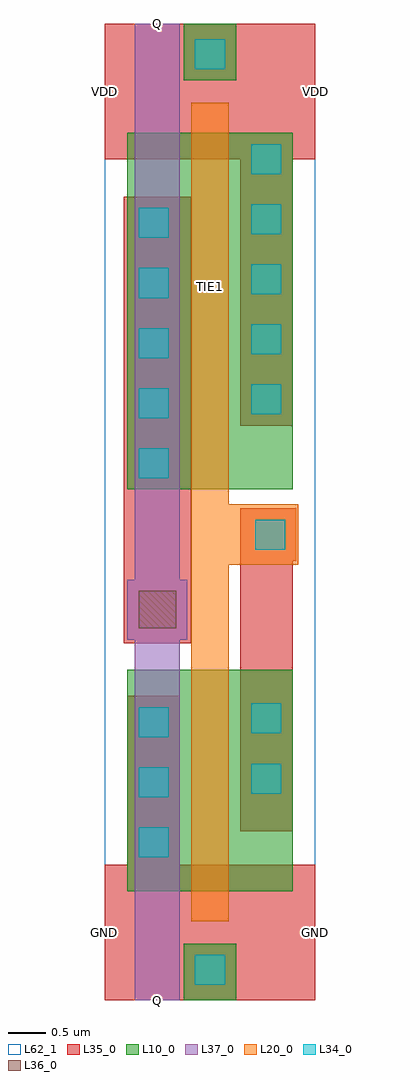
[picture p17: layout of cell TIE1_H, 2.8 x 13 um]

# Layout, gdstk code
import gdstk
lib = gdstk.Library(unit=1e-6, precision=1e-09)
def R(c, l, rs):  # rectangles x0, y0, x1, y1
    for r in rs: c.add(gdstk.rectangle(r[:2], r[2:], *l))
def A(c, l, x, y, w, h, nx, ny, dx, dy):  # array of equal rectangles
    R(c, l, [(x+i*dx, y+j*dy, x+i*dx+w, y+j*dy+h) for i in range(nx) for j in range(ny)])
def P(c, l, *ps):  # polygons
    for p in ps: c.add(gdstk.Polygon(p, *l))
L10_0 = (10, 0)
L20_0 = (20, 0)
L34_0 = (34, 0)
L35_0 = (35, 0)
L36_0 = (36, 0)
L37_0 = (37, 0)
L62_1 = (62, 1)

tie1_h = lib.new_cell('TIE1_H')
R(tie1_h, L10_0, [(1.05,0,1.75,0.75), (0.3,1.45,2.5,4.4), (0.3,6.8,2.5,11.55), (1.05,12.25,1.75,13)])
P(tie1_h, L20_0, [(2.575,6.6),(1.65,6.6),(1.65,11.95),(1.15,11.95),(1.15,1.05),(1.65,1.05),(1.65,5.8),(2.575,5.8)])
A(tie1_h, L34_0, 0.45, 1.9, 0.4, 0.4, 1, 3, 0, 0.8)
A(tie1_h, L34_0, 0.45, 6.95, 0.4, 0.4, 1, 5, 0, 0.8)
A(tie1_h, L34_0, 1.95, 7.8, 0.4, 0.4, 1, 5, 0, 0.8)
R(tie1_h, L34_0, [(1.2,0.2,1.6,0.6), (1.95,2.75,2.35,3.15), (1.95,3.55,2.35,3.95), (2,6,2.4,6.4), (1.2,12.4,1.6,12.8)])
R(tie1_h, L35_0, [(0.25,4.75,1.15,10.7), (0.25,4.75,1.15,5.65)])
P(tie1_h, L35_0, [(2.55,6.55),(1.8,6.55),(1.8,2.25),(2.5,2.25),(2.5,5.85),(2.55,5.85)],
  [(2.8,1.8),(1,1.8),(1,4.05),(0.3,4.05),(0.3,1.8),(0,1.8),(0,0),(2.8,0)],
  [(2.8,13),(0,13),(0,11.2),(1.8,11.2),(1.8,7.65),(2.5,7.65),(2.5,11.2),(2.8,11.2)])
R(tie1_h, L36_0, [(0.45,4.95,0.95,5.45)])
R(tie1_h, L37_0, [(0.4,0,1,13), (0.3,4.8,1.1,5.6)])
R(tie1_h, L62_1, [(0,0,2.8,13)])
tie1_h.add(gdstk.Label('TIE1', (1.4,9.5), layer=61, texttype=2))
tie1_h.add(gdstk.Label('Q', (0.7,13), layer=37, texttype=0))
tie1_h.add(gdstk.Label('GND', (2.8,0.9), layer=35, texttype=0))
tie1_h.add(gdstk.Label('GND', (0,0.9), layer=35, texttype=0))
tie1_h.add(gdstk.Label('VDD', (2.8,12.1), layer=35, texttype=0))
tie1_h.add(gdstk.Label('VDD', (0,12.1), layer=35, texttype=0))
tie1_h.add(gdstk.Label('Q', (0.7,0), layer=37, texttype=0))

lib.write_gds('TIE1_H.gds')
